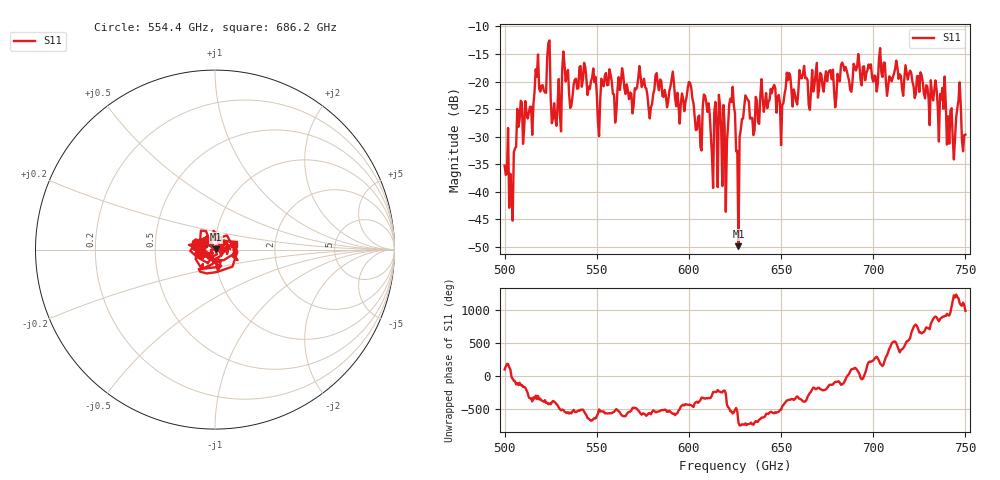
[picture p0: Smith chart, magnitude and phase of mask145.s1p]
!Created with skrf (http://scikit-rf.org).
# GHz S MA R 50.0
!freq magS11 angS11
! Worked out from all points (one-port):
!   401 points, 500 GHz to 750 GHz, reference 50 ohm
!   lowest |S11| = -49.9 dB at 626.9 GHz (marker M1), VSWR 1.01, Z = 50.3 + j0.101 ohm
!   |S11| at or under -10 dB: start of sweep to end of sweep
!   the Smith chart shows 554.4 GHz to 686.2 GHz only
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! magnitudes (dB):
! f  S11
! 500 GHz  -35.3
! 503.8 GHz  -40.4
! 508.1 GHz  -27.0
! 513.8 GHz  -24.6
! 517.5 GHz  -19.1
! 523.8 GHz  -13.0
! 526.9 GHz  -23.9
! 531.2 GHz  -17.8
! 562.5 GHz  -21.5
! 593.8 GHz  -22.0
! 600.6 GHz  -20.2
! 605.6 GHz  -26.2
! 609.4 GHz  -23.7
! 611.9 GHz  -29.4
! 617.5 GHz  -28.6
! 619.4 GHz  -28.0
! 623.1 GHz  -23.7
! 625 GHz  -25.9
! 626.9 GHz  -49.9
! 631.2 GHz  -22.9
! 634.4 GHz  -26.6
! 656.2 GHz  -24.5
! 687.5 GHz  -21.5
! 718.8 GHz  -19.6
! 737.5 GHz  -21.2
! 742.5 GHz  -24.9
! 746.2 GHz  -23.5
! 750 GHz  -29.6
